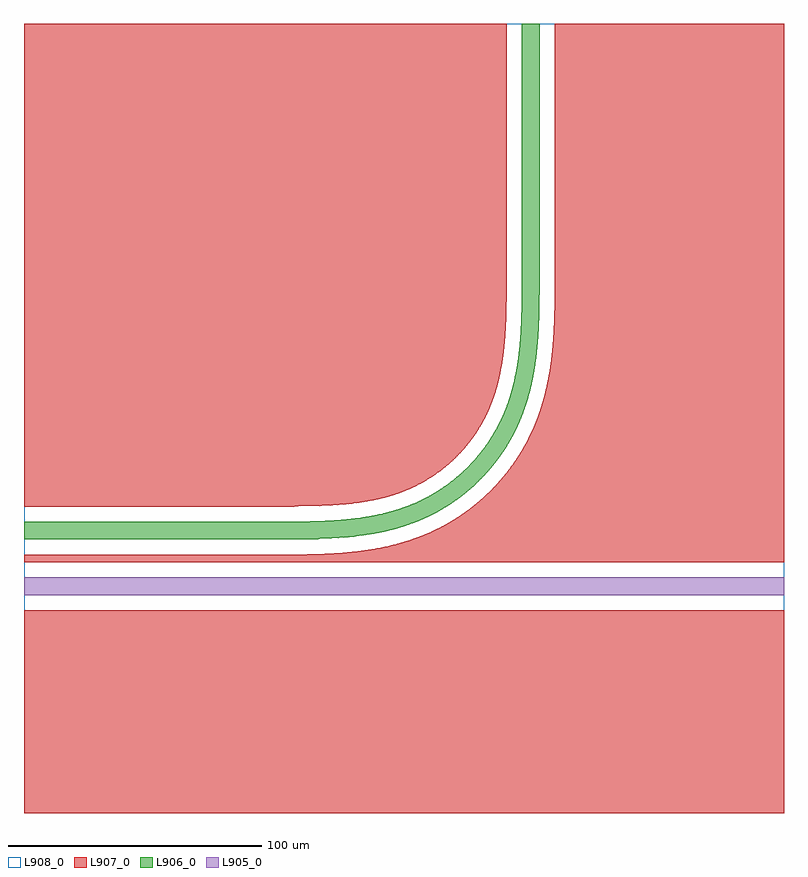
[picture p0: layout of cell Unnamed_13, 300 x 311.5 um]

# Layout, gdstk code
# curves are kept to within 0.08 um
import gdstk
lib = gdstk.Library(unit=1e-6, precision=1e-09)
def R(c, l, rs):  # rectangles x0, y0, x1, y1
    for r in rs: c.add(gdstk.rectangle(r[:2], r[2:], *l))
def P(c, l, *ps):  # polygons
    for p in ps: c.add(gdstk.Polygon(p, *l))
L905_0 = (905, 0)
L906_0 = (906, 0)
L907_0 = (907, 0)
L908_0 = (908, 0)

unnamed_13 = lib.new_cell('Unnamed_13')
R(unnamed_13, L905_0, [(-100,-14.5,200,-7.5)])
P(unnamed_13, L906_0, [(-100,7.5),(-100,14.5),(10.482,14.549),(17.587,14.734),(23.725,15.078),(29.554,15.624),(34.809,16.349),(40.873,17.523),(46.441,18.988),(51.619,20.755),(56.753,22.974),(61.581,25.552),(66.183,28.514),(70.528,31.842),(74.769,35.691),(78.666,39.888),(82.043,44.195),(85.123,48.872),(87.803,53.789),(90.015,58.79),(91.938,64.315),(93.477,70.127),(94.651,76.191),(95.376,81.446),(95.922,87.275),(96.266,93.413),(96.451,100.518),(96.5,211),(103.5,211),(103.467,101.764),(103.333,95.161),(103.049,88.932),(102.642,83.635),(102.096,78.74),(100.878,71.276),(99.328,64.677),(97.316,58.31),(94.929,52.477),(91.907,46.603),(88.454,41.137),(84.627,36.101),(80.188,31.21),(75.438,26.824),(70.093,22.707),(64.519,19.163),(58.906,16.248),(52.69,13.684),(46.323,11.672),(39.724,10.122),(32.26,8.904),(27.365,8.358),(22.068,7.951),(15.839,7.667),(9.236,7.533)])
R(unnamed_13, L907_0, [(-100,-100.5,200,-20.5)])
P(unnamed_13, L907_0, [(-100,20.5),(-100,211),(90.5,211),(90.479,103.079),(90.166,91.367),(89.387,81.889),(88.42,75.354),(87.093,69.254),(85.439,63.72),(83.403,58.537),(80.966,53.666),(77.974,48.84),(74.695,44.49),(70.879,40.285),(66.777,36.527),(62.256,33.092),(57.637,30.204),(52.463,27.597),(47.28,25.561),(41.746,23.907),(35.646,22.58),(29.111,21.613),(19.633,20.834),(7.921,20.521)],
  [(-100,-1.5),(-100,1.5),(8.348,1.524),(19.778,1.818),(24.962,2.134),(30.192,2.614),(36.745,3.493),(43.042,4.687),(48.62,6.083),(54.023,7.79),(59.223,9.816),(64.307,12.216),(69.21,14.967),(73.908,18.055),(77.074,20.418),(80.005,22.835),(82.928,25.493),(85.925,28.513),(88.659,31.572),(91.141,34.647),(93.468,37.839),(95.715,41.272),(97.71,44.683),(99.601,48.324),(101.184,51.777),(102.7,55.565),(104.064,59.53),(105.193,63.38),(106.153,67.243),(107.064,71.681),(108.027,77.822),(108.73,84.347),(109.182,91.222),(109.435,99.376),(109.5,211),(200,211),(200,-1.5)])
R(unnamed_13, L908_0, [(-100,-100.5,200,211)])

lib.write_gds('Unnamed_13.gds')
